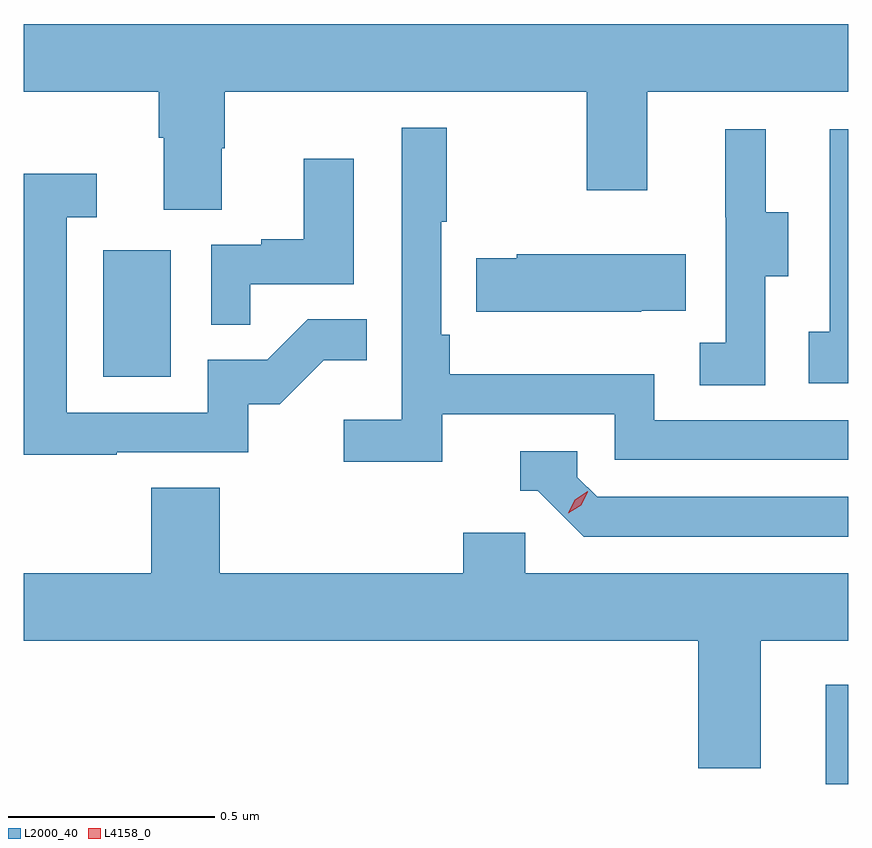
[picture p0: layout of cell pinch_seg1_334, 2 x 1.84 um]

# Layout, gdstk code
import gdstk
lib = gdstk.Library(unit=1e-6, precision=1e-09)
def R(c, l, rs):  # rectangles x0, y0, x1, y1
    for r in rs: c.add(gdstk.rectangle(r[:2], r[2:], *l))
def P(c, l, *ps):  # polygons
    for p in ps: c.add(gdstk.Polygon(p, *l))
L2000_40 = (2000, 40)
L4158_0 = (4158, 0)

pinch_seg1_334 = lib.new_cell('pinch_seg1_334')
R(pinch_seg1_334, L2000_40, [(989.582,556.713,989.637,556.954), (987.83,557.7,987.994,558.007)])
P(pinch_seg1_334, L2000_40, [(988.117,558.255),(988.125,558.255),(988.125,558.392),(989.002,558.392),(989.002,558.153),(989.149,558.153),(989.149,558.392),(989.637,558.392),(989.637,558.556),(987.637,558.556),(987.637,558.392),(987.965,558.392),(987.965,558.28),(987.977,558.28),(987.977,558.106),(988.117,558.106)],
  [(988.652,557.61),(989.07,557.61),(989.07,557.499),(989.637,557.499),(989.637,557.595),(989.166,557.595),(989.166,557.707),(988.67,557.707),(988.67,557.803),(988.65,557.803),(988.65,558.076),(988.663,558.076),(988.663,558.304),(988.554,558.304),(988.554,557.596),(988.413,557.596),(988.413,557.494),(988.652,557.494)],
  [(989.436,557.944),(989.491,557.944),(989.491,558.099),(989.437,558.099),(989.437,558.301),(989.339,558.301),(989.339,558.087),(989.34,558.087),(989.34,557.783),(989.277,557.783),(989.277,557.68),(989.436,557.68)],
  [(989.637,558.301),(989.592,558.301),(989.592,557.81),(989.541,557.81),(989.541,557.685),(989.637,557.685)],
  [(988.187,557.925),(988.438,557.925),(988.438,558.229),(988.316,558.229),(988.316,558.034),(988.213,558.034),(988.213,558.021),(988.092,558.021),(988.092,557.827),(988.187,557.827)],
  [(987.863,557.517),(988.182,557.517),(988.182,557.634),(988.258,557.634),(988.365,557.741),(988.469,557.741),(988.469,557.84),(988.326,557.84),(988.228,557.742),(988.083,557.742),(988.083,557.613),(987.741,557.613),(987.741,558.087),(987.814,558.087),(987.814,558.193),(987.637,558.193),(987.637,557.512),(987.863,557.512)],
  [(989.135,557.861),(989.243,557.861),(989.243,557.998),(988.833,557.998),(988.833,557.988),(988.735,557.988),(988.735,557.858),(989.135,557.858)],
  [(989.637,557.409),(989.028,557.409),(988.98,557.457),(988.98,557.52),(988.841,557.52),(988.841,557.424),(988.884,557.424),(988.995,557.313),(989.637,557.313)],
  [(989.425,557.06),(989.637,557.06),(989.637,557.224),(988.854,557.224),(988.854,557.322),(988.703,557.322),(988.703,557.224),(988.112,557.224),(988.112,557.432),(987.947,557.432),(987.947,557.224),(987.637,557.224),(987.637,557.06),(989.273,557.06),(989.273,556.751),(989.425,556.751)])
P(pinch_seg1_334, L4158_0, [(988.958,557.369),(988.958,557.369),(988.974,557.402),(989.005,557.423),(989.005,557.423),(989.005,557.422),(988.989,557.389),(988.958,557.369)])

lib.write_gds('pinch_seg1_334.gds')
